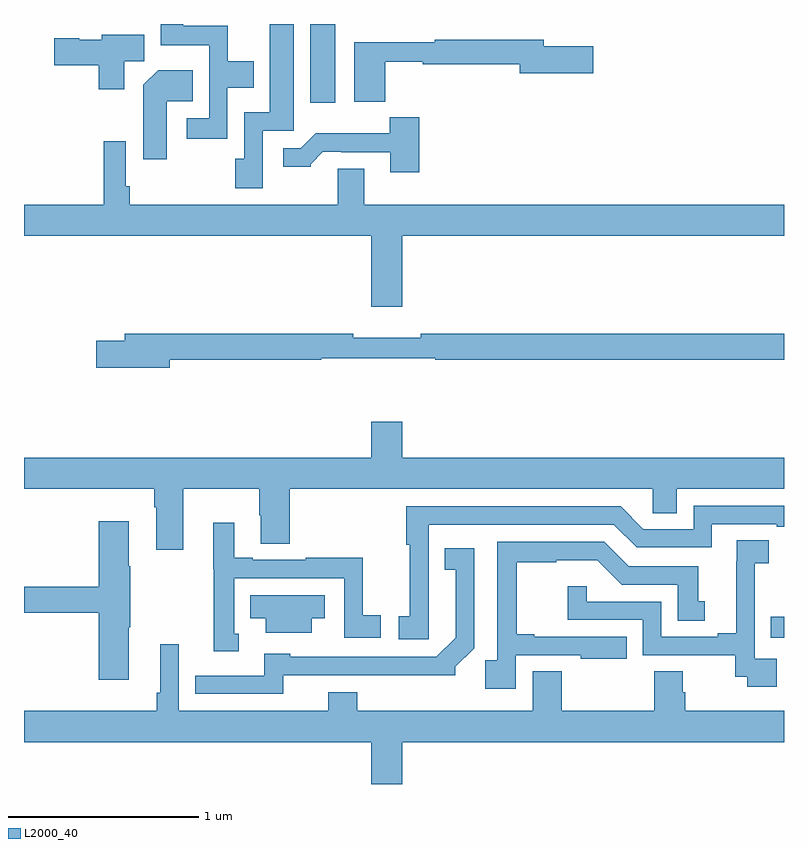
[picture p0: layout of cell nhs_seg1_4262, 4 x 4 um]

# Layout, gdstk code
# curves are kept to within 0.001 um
import gdstk
lib = gdstk.Library(unit=1e-6, precision=1e-09)
def R(c, l, rs):  # rectangles x0, y0, x1, y1
    for r in rs: c.add(gdstk.rectangle(r[:2], r[2:], *l))
def P(c, l, *ps):  # polygons
    for p in ps: c.add(gdstk.Polygon(p, *l))
L2000_40 = (2000, 40)

nhs_seg1_4262 = lib.new_cell('nhs_seg1_4262')
R(nhs_seg1_4262, L2000_40, [(346.93,530.97,347,531.079), (344.507,533.784,344.638,534.199)])
P(nhs_seg1_4262, L2000_40, [(344.07,533.864),(344.209,533.864),(344.209,534.004),(344.073,534.004),(344.073,534.19),(343.837,534.19),(343.837,534.199),(343.721,534.199),(343.721,534.086),(343.974,534.086),(343.974,533.703),(343.857,533.703),(343.857,533.595),(344.07,533.595)],
  [(344.256,533.637),(344.419,533.637),(344.419,534.199),(344.294,534.199),(344.294,533.734),(344.16,533.734),(344.16,533.49),(344.113,533.49),(344.113,533.334),(344.256,533.334)],
  [(343.528,534.004),(343.633,534.004),(343.633,534.142),(343.41,534.142),(343.41,534.115),(343.29,534.115),(343.29,534.123),(343.158,534.123),(343.158,533.981),(343.394,533.981),(343.394,533.856),(343.528,533.856)],
  [(344.9,534.001),(345.098,534.001),(345.098,533.986),(345.608,533.986),(345.608,533.939),(345.997,533.939),(345.997,534.081),(345.736,534.081),(345.736,534.115),(345.163,534.115),(345.163,534.102),(344.738,534.102),(344.738,533.789),(344.9,533.789)],
  [(343.75,533.792),(343.889,533.792),(343.889,533.956),(343.706,533.956),(343.628,533.878),(343.628,533.487),(343.75,533.487)],
  [(345.08,533.707),(344.925,533.707),(344.925,533.623),(344.536,533.623),(344.457,533.544),(344.364,533.544),(344.364,533.447),(344.508,533.447),(344.508,533.462),(344.572,533.526),(344.671,533.526),(344.671,533.523),(344.927,533.523),(344.927,533.418),(345.08,533.418)],
  [(344.992,533.084),(347,533.084),(347,533.248),(344.791,533.248),(344.791,533.438),(344.651,533.438),(344.651,533.248),(343.556,533.248),(343.556,533.344),(343.536,533.344),(343.536,533.581),(343.42,533.581),(343.42,533.248),(343,533.248),(343,533.084),(344.828,533.084),(344.828,532.71),(344.992,532.71)],
  [(343.768,532.432),(344.564,532.432),(344.564,532.44),(345.164,532.44),(345.164,532.432),(347,532.432),(347,532.568),(345.088,532.568),(345.088,532.549),(344.732,532.549),(344.732,532.568),(343.529,532.568),(343.529,532.532),(343.38,532.532),(343.38,532.39),(343.768,532.39)],
  [(343.837,531.752),(344.239,531.752),(344.239,531.614),(344.246,531.614),(344.246,531.463),(344.399,531.463),(344.399,531.752),(346.308,531.752),(346.308,531.625),(346.435,531.625),(346.435,531.752),(347,531.752),(347,531.916),(344.992,531.916),(344.992,532.105),(344.828,532.105),(344.828,531.916),(343,531.916),(343,531.752),(343.685,531.752),(343.685,531.656),(343.697,531.656),(343.697,531.432),(343.837,531.432)],
  [(345.13,531.236),(345.129,531.564),(346.104,531.564),(346.224,531.444),(346.62,531.444),(346.62,531.567),(346.961,531.567),(346.961,531.552),(347,531.552),(347,531.663),(346.524,531.663),(346.524,531.54),(346.26,531.54),(346.14,531.66),(345.013,531.66),(345.013,531.457),(345.031,531.457),(345.031,531.081),(344.973,531.081),(344.973,530.961),(345.13,530.961)],
  [(343.552,531.023),(343.56,531.023),(343.56,531.344),(343.552,531.344),(343.552,531.583),(343.394,531.583),(343.394,531.236),(343,531.236),(343,531.1),(343.394,531.1),(343.394,530.748),(343.552,530.748)],
  [(344.131,530.991),(344.106,530.991),(344.106,531.282),(344.685,531.282),(344.685,530.97),(344.878,530.97),(344.878,531.086),(344.784,531.086),(344.784,531.391),(344.482,531.391),(344.482,531.378),(344.203,531.378),(344.203,531.391),(344.107,531.391),(344.107,531.574),(343.997,531.574),(343.997,531.329),(343.998,531.329),(343.998,530.897),(344.131,530.897)],
  [(346.963,530.859),(346.845,530.859),(346.845,531.163),(346.847,531.163),(346.847,531.361),(346.921,531.361),(346.921,531.482),(346.75,531.482),(346.75,531.371),(346.748,531.371),(346.748,530.993),(346.652,530.993),(346.652,530.973),(346.353,530.973),(346.353,531.159),(345.963,531.159),(345.963,531.241),(345.862,531.241),(345.862,531.063),(346.257,531.063),(346.257,530.877),(346.744,530.877),(346.744,530.763),(346.807,530.763),(346.807,530.712),(346.963,530.712)],
  [(345.588,530.877),(345.929,530.877),(345.929,530.858),(346.172,530.858),(346.172,530.973),(345.685,530.973),(345.685,530.986),(345.593,530.986),(345.593,531.366),(345.8,531.366),(345.8,531.377),(346.018,531.377),(346.146,531.249),(346.442,531.249),(346.442,531.058),(346.582,531.058),(346.582,531.162),(346.549,531.162),(346.549,531.345),(346.182,531.345),(346.053,531.474),(345.492,531.474),(345.492,530.851),(345.427,530.851),(345.427,530.7),(345.588,530.7)],
  [(344.364,530.772),(345.27,530.771),(345.27,530.815),(345.369,530.914),(345.369,531.439),(345.214,531.439),(345.214,531.326),(345.272,531.326),(345.272,530.969),(345.171,530.868),(344.4,530.868),(344.4,530.884),(344.264,530.884),(344.264,530.769),(343.9,530.769),(343.9,530.673),(344.364,530.673)],
  [(344.515,531.071),(344.584,531.071),(344.584,531.193),(344.191,531.193),(344.191,531.071),(344.273,531.071),(344.273,530.996),(344.515,530.996)],
  [(344.992,530.42),(347,530.42),(347,530.584),(346.481,530.584),(346.481,530.682),(346.468,530.682),(346.468,530.792),(346.316,530.792),(346.316,530.584),(345.83,530.584),(345.83,530.792),(345.677,530.792),(345.677,530.584),(344.753,530.584),(344.753,530.683),(344.6,530.683),(344.6,530.584),(343.815,530.584),(343.815,530.935),(343.718,530.935),(343.718,530.68),(343.699,530.68),(343.699,530.584),(343,530.584),(343,530.42),(344.828,530.42),(344.828,530.199),(344.992,530.199)])

lib.write_gds('nhs_seg1_4262.gds')
